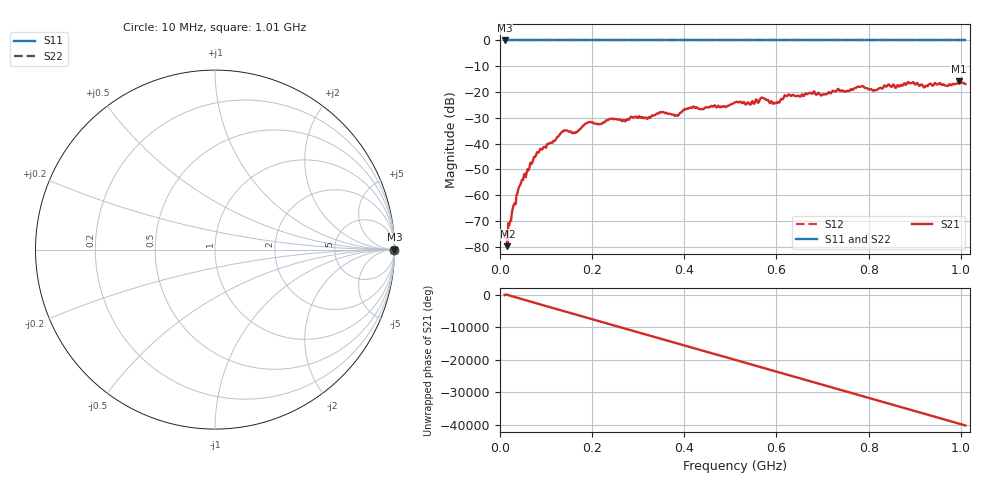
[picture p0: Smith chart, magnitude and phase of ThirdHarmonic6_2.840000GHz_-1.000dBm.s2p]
! 8/17/2025 7:37:35 AM
! C:\ANRITSUVNA\TEMP\TEMP.S2P
! CHANNEL.1
! TR.MEASUREMENT
! RAW.DATA
! RF.CORRECTION.OFF
! AVERAGING.OFF
! IF.BANDWIDTH: 5KHZ
! SWEEPTYPE:  FREQ.SWEEP(Linear)
! Reference Plane Port Info
! PORT:  PORT1  PORT2
! DISTANCE:  0  m  0  m
! TIME:  0  s  0  s
! PHASE.OFFSET:  0  deg.  0  deg.
! LOSS:  0  dB  0  dB
! REF.LOSS:  0  dB  0  dB
! REF.FREQ:  0  Hz  0  Hz
! Power Info
! POWER:  -20  dBm  -20  dBm
! EFF.POWER:  -20  dBm  -20  dBm
! SOURCE.ATTEN:  0  dB  0  dB
! TEST.ATTEN:  0  dB  0  dB
# GHZ S RI R 50.0
! FREQ.GHZ  S11RE  S11IM  S21RE  S21IM  S12RE  S12IM  S22RE  S22IM
!; PortSelection: Port_12
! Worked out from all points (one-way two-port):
!   501 points, 10 MHz to 1.01 GHz, reference 50 ohm
!   highest |S21| = -15.88 dB at 996 MHz (marker M1); lowest = -79.8 dB at 16 MHz (marker M2)
!   lowest |S11| = 0.0 dB at 10 MHz (marker M3)
!   |S11| at or under -10 dB: nowhere
!   |S22| runs from 0.0 to 0.0 dB; largest |S21 - S12| = 1.2
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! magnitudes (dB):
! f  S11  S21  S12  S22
! 10 MHz  0.0  -76.5  0.0  0.0
! 16 MHz  0.0  -79.8  0.0  0.0
! 44 MHz  0.0  -56.0  0.0  0.0
! 78 MHz  0.0  -44.6  0.0  0.0
! 136 MHz  0.0  -35.4  0.0  0.0
! 160 MHz  0.0  -35.7  0.0  0.0
! 178 MHz  0.0  -33.5  0.0  0.0
! 194 MHz  0.0  -31.6  0.0  0.0
! 344 MHz  0.0  -28.3  0.0  0.0
! 384 MHz  0.0  -29.0  0.0  0.0
! 416 MHz  0.0  -26.2  0.0  0.0
! 510 MHz  0.0  -24.0  0.0  0.0
! 570 MHz  0.0  -22.2  0.0  0.0
! 596 MHz  0.0  -24.1  0.0  0.0
! 622 MHz  0.0  -21.6  0.0  0.0
! 678 MHz  0.0  -20.6  0.0  0.0
! 700 MHz  0.0  -21.0  0.0  0.0
! 784 MHz  0.0  -17.8  0.0  0.0
! 814 MHz  0.0  -19.2  0.0  0.0
! 844 MHz  0.0  -17.1  0.0  0.0
! 996 MHz  0.0  -15.9  0.0  0.0
! 1.01 GHz  0.0  -16.8  0.0  0.0
